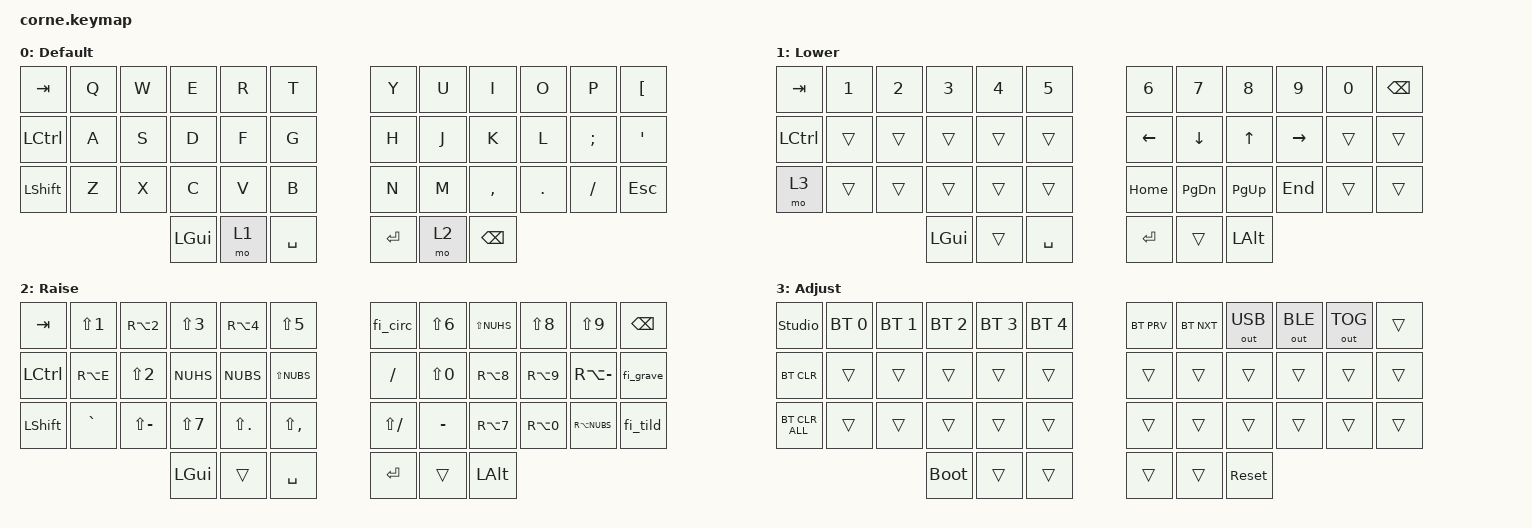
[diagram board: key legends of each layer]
/*
 * Starter keymap for the reversible Corne (42 keys, 3x6+3).
 *
 * Layers:
 *   0 default  QWERTY
 *   1 lower    numbers, arrows          (hold left thumb, LOWER)
 *   2 raise    symbols                  (hold right thumb, RAISE)
 *   3 adjust   Bluetooth, outputs, reset, Studio unlock
 *              reach it with LOWER held + the bottom-left key (&mo 3 on lower)
 *
 * Host layout: the computer must be set to the Finnish/Swedish keyboard layout
 * (ISO). Keycodes below are the US-HID positions that produce the Nordic
 * characters under that layout; the FI_* defines name them.
 *
 * Positions follow the stock corne shield: 6 keys per side per row,
 * then 3 thumb keys per side. 42 bindings per layer.
 */

#include <behaviors.dtsi>
#include <dt-bindings/zmk/keys.h>
#include <dt-bindings/zmk/bt.h>
#include <dt-bindings/zmk/outputs.h>

/* Finnish/Swedish host layout: character -> key position */
#define FI_ARNG  LBKT           /* å */
#define FI_ADIA  SQT            /* ä */
#define FI_ODIA  SEMI           /* ö */
#define FI_EURO  RA(E)          /* € (AltGr+E) */
#define FI_MINUS FSLH           /* - */
#define FI_UNDS  LS(FSLH)       /* _ */
#define FI_PLUS  MINUS          /* + */
#define FI_QUES  LS(MINUS)      /* ? */
#define FI_BSLH  RA(MINUS)      /* \ */
#define FI_EQL   LS(N0)         /* = */
#define FI_EXCL  LS(N1)         /* ! */
#define FI_DQUO  LS(N2)         /* " */
#define FI_AT    RA(N2)         /* @ */
#define FI_HASH  LS(N3)         /* # */
#define FI_DLR   RA(N4)         /* $ */
#define FI_PERC  LS(N5)         /* % */
#define FI_AMPR  LS(N6)         /* & */
#define FI_SLSH  LS(N7)         /* / */
#define FI_LPRN  LS(N8)         /* ( */
#define FI_RPRN  LS(N9)         /* ) */
#define FI_LCBR  RA(N7)         /* { */
#define FI_LBRC  RA(N8)         /* [ */
#define FI_RBRC  RA(N9)         /* ] */
#define FI_RCBR  RA(N0)         /* } */
#define FI_QUOT  NUHS           /* ' */
#define FI_ASTR  LS(NUHS)       /* * */
#define FI_LABK  NUBS           /* < */
#define FI_RABK  LS(NUBS)       /* > */
#define FI_PIPE  RA(NUBS)       /* | */
#define FI_SCLN  LS(COMMA)      /* ; */
#define FI_COLN  LS(DOT)        /* : */
#define FI_SECT  GRAVE          /* § */

/ {
        macros {
                /* ^ ~ ` are dead keys on the Nordic layout; tap space to emit the character. */
                ZMK_MACRO(fi_circ,  wait-ms = <0>; tap-ms = <10>; bindings = <&kp LS(RBKT) &kp SPACE>;)
                ZMK_MACRO(fi_tild,  wait-ms = <0>; tap-ms = <10>; bindings = <&kp RA(RBKT) &kp SPACE>;)
                ZMK_MACRO(fi_grave, wait-ms = <0>; tap-ms = <10>; bindings = <&kp LS(EQUAL) &kp SPACE>;)
        };

        keymap {
                compatible = "zmk,keymap";

                default_layer {
                        display-name = "Default";
// -----------------------------------------------------------------------------------------
// |  TAB |  Q  |  W  |  E  |  R  |  T  |   |  Y  |  U  |  I  |  O  |  P  |  Å   |
// | CTRL |  A  |  S  |  D  |  F  |  G  |   |  H  |  J  |  K  |  L  |  Ö  |  Ä   |
// | SHFT |  Z  |  X  |  C  |  V  |  B  |   |  N  |  M  |  ,  |  .  |  -  | ESC  |
//                    | GUI | LWR | SPC |   | ENT | RSE | BSPC |
                        bindings = <
   &kp TAB   &kp Q   &kp W   &kp E   &kp R   &kp T     &kp Y   &kp U    &kp I     &kp O   &kp P       &kp FI_ARNG
   &kp LCTRL &kp A   &kp S   &kp D   &kp F   &kp G     &kp H   &kp J    &kp K     &kp L   &kp FI_ODIA &kp FI_ADIA
   &kp LSHFT &kp Z   &kp X   &kp C   &kp V   &kp B     &kp N   &kp M    &kp COMMA &kp DOT &kp FI_MINUS &kp ESC
                  &kp LGUI &mo 1 &kp SPACE     &kp RET &mo 2 &kp BSPC
                        >;
                };

                lower_layer {
                        display-name = "Lower";
// -----------------------------------------------------------------------------------------
// |  TAB |  1  |  2  |  3  |  4  |  5  |   |  6  |  7  |  8  |  9  |  0  | BSPC |
// | CTRL |     |     |     |     |     |   | LFT | DWN |  UP | RGT |     |      |
// | ADJ  |     |     |     |     |     |   | HOME| PGDN| PGUP| END |     |      |
//                    | GUI |     | SPC |   | ENT |     | ALT  |
                        bindings = <
   &kp TAB   &kp N1    &kp N2    &kp N3    &kp N4    &kp N5      &kp N6    &kp N7    &kp N8    &kp N9    &kp N0    &kp BSPC
   &kp LCTRL &trans    &trans    &trans    &trans    &trans      &kp LEFT  &kp DOWN  &kp UP    &kp RIGHT &trans   &trans
   &mo 3     &trans    &trans    &trans    &trans    &trans      &kp HOME  &kp PG_DN &kp PG_UP &kp END   &trans   &trans
                                    &kp LGUI  &trans    &kp SPACE      &kp RET   &trans    &kp LALT
                        >;
                };

                raise_layer {
                        display-name = "Raise";
// -----------------------------------------------------------------------------------------
// |  TAB |  !  |  @  |  #  |  $  |  %  |   |  ^  |  &  |  *  |  (  |  )  | BSPC |
// | CTRL |  €  |  "  |  '  |  <  |  >  |   |  -  |  =  |  [  |  ]  |  \  |  `   |
// | SHFT |  §  |  ?  |  /  |  :  |  ;  |   |  _  |  +  |  {  |  }  |  |  |  ~   |
//                    | GUI |     | SPC |   | ENT |     | ALT  |
                        bindings = <
   &kp TAB   &kp FI_EXCL &kp FI_AT   &kp FI_HASH &kp FI_DLR  &kp FI_PERC    &fi_circ     &kp FI_AMPR &kp FI_ASTR &kp FI_LPRN &kp FI_RPRN &kp BSPC
   &kp LCTRL &kp FI_EURO &kp FI_DQUO &kp FI_QUOT &kp FI_LABK &kp FI_RABK    &kp FI_MINUS &kp FI_EQL  &kp FI_LBRC &kp FI_RBRC &kp FI_BSLH &fi_grave
   &kp LSHFT &kp FI_SECT &kp FI_QUES &kp FI_SLSH &kp FI_COLN &kp FI_SCLN    &kp FI_UNDS  &kp FI_PLUS &kp FI_LCBR &kp FI_RCBR &kp FI_PIPE &fi_tild
                                    &kp LGUI  &trans    &kp SPACE      &kp RET   &trans    &kp LALT
                        >;
                };

                adjust_layer {
                        display-name = "Adjust";
// -----------------------------------------------------------------------------------------
// -----------------------------------------------------------------------------------------
// | STUDIO | SEL0 | SEL1 | SEL2 | SEL3 | SEL4 |   | PRV  | NXT  | USB  | BLE  | TOG  |      |
// | CLR    |      |      |      |      |      |   |      |      |      |      |      |      |
// | CLR ALL|      |      |      |      |      |   |      |      |      |      |      |      |
//                    | BOOT |      |      |   |      |      | RESET |
// studio_unlock: press once before Studio can edit the keymap (needed with locking on).
// CLR ALL drops every bond on every profile; RESET reboots. Both are kept off the home rows.
                        bindings = <
   &studio_unlock &bt BT_SEL 0 &bt BT_SEL 1 &bt BT_SEL 2 &bt BT_SEL 3 &bt BT_SEL 4   &bt BT_PRV &bt BT_NXT &out OUT_USB &out OUT_BLE &out OUT_TOG &trans
   &bt BT_CLR &trans   &trans    &trans    &trans    &trans       &trans    &trans    &trans    &trans    &trans   &trans
   &bt BT_CLR_ALL &trans &trans  &trans    &trans    &trans       &trans    &trans    &trans    &trans    &trans   &trans
                                    &bootloader &trans  &trans     &trans    &trans    &sys_reset
                        >;
                };
        };
};
